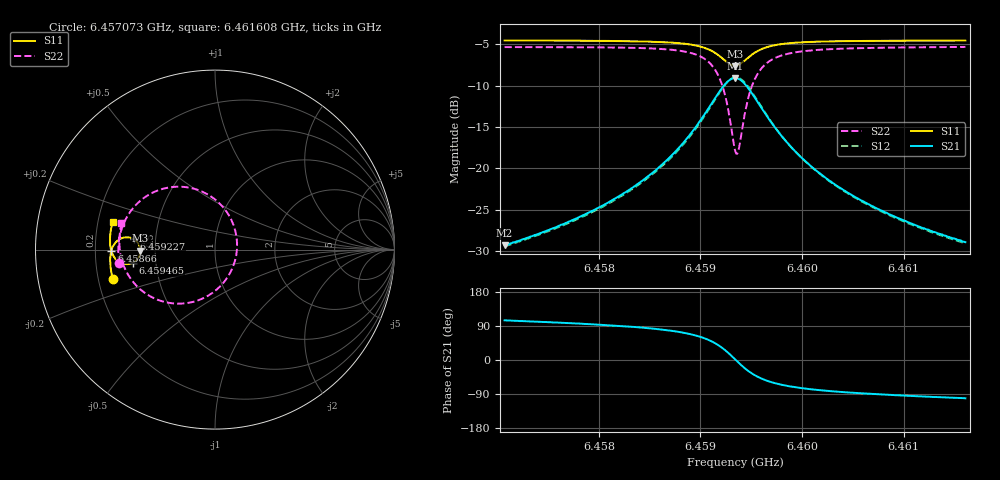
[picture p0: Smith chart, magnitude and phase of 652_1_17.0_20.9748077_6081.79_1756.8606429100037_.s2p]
#  HZ  S  RI  R  50.00
! Rohde & Schwarz Vector Network Analyzer
! Rohde-Schwarz,ZNB20-2Port,1311601062101988,3.16
! Created: UTC 3/20/2024, 11:21:17 PM
! freq[Hz]  re:S11  im:S11  re:S21  im:S21  re:S12  im:S12  re:S22  im:S22
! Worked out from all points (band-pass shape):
!   401 points, 6.457073 GHz to 6.461608 GHz, reference 50 ohm
!   highest |S21| = -9.10 dB at 6.459341 GHz (marker M1); lowest = -29.3 dB at 6.457073 GHz (marker M2)
!   |S21| within 3 dB of the highest: 6.459115 GHz to 6.459568 GHz (453.9 kHz wide, 0.00703 % of centre)
!   lowest |S11| = -7.6 dB at 6.459341 GHz (marker M3), VSWR 2.42, Z = 20.6 - j0.306 ohm
!   |S11| at or under -10 dB: nowhere
!   |S22| runs from -18.2 to -5.3 dB; largest |S21 - S12| = 0.014
!   S11 on the Smith chart (normalised r, x): 6.457073 GHz: 0.26, -0.13; 6.45866 GHz: 0.27, -0.00; 6.459227 GHz: 0.38, +0.05; 6.459465 GHz: 0.37, -0.07; 6.461608 GHz: 0.26, +0.12
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6.4570731e9  -0.5688 -0.1648  -0.00863 0.033  -0.00684 0.0331  -0.5347 -0.076
6.4578327e9  -0.5819 -0.098  -0.00522 0.0513  -0.00248 0.0507  -0.5384 0.0141
6.4582862e9  -0.5841 -0.0519  0.002 0.073  0.00543 0.0716  -0.5278 0.0879
6.4585923e9  -0.5798 -0.0147  0.0154 0.1002  0.0195 0.0972  -0.5025 0.1593
6.4586603e9  -0.5774 -0.00515  0.021 0.1085  0.0251 0.1052  -0.4921 0.1795
6.458853e9  -0.5644 0.0252  0.0481 0.1395  0.0522 0.1344  -0.441 0.2486
6.4590004e9  -0.5413 0.0513  0.0943 0.17  0.0973 0.1632  -0.356 0.313
6.4591365e9  -0.4969 0.0685  0.1825 0.186  0.1833 0.1786  -0.1942 0.3504
6.4592272e9  -0.4518 0.0578  0.2732 0.1541  0.2733 0.1483  -0.0261 0.2986
6.4592952e9  -0.4227 0.0253  0.3341 0.0812  0.3363 0.0758  0.0906 0.1669
6.4593405e9  -0.4157 -0.00614  0.3506 0.0123  0.3544 0.00532  0.1229 0.0376
6.4593745e9  -0.4197 -0.0301  0.3446 -0.0411  0.3487 -0.0501  0.111 -0.0636
6.4594199e9  -0.4355 -0.0566  0.3155 -0.1018  0.3178 -0.1138  0.052 -0.1787
6.4594652e9  -0.4579 -0.0733  0.2726 -0.1434  0.2718 -0.1569  -0.0351 -0.2547
6.4595559e9  -0.5019 -0.0804  0.186 -0.1747  0.1798 -0.1865  -0.2076 -0.3012
6.459624e9  -0.5265 -0.073  0.1369 -0.1723  0.1287 -0.1816  -0.3029 -0.2853
6.4597033e9  -0.5464 -0.0597  0.0968 -0.16  0.0879 -0.1664  -0.3783 -0.2497
6.459862e9  -0.5681 -0.0318  0.0514 -0.1313  0.0434 -0.1341  -0.4596 -0.1758
6.4601001e9  -0.5808 0.0037  0.0218 -0.099  0.0159 -0.0995  -0.5078 -0.0918
6.4604062e9  -0.5851 0.0409  0.00687 -0.0736  0.00257 -0.0732  -0.5281 -0.0183
6.4608597e9  -0.5831 0.0872  -0.00182 -0.0526  -0.00465 -0.0518  -0.5329 0.0567
6.461608e9  -0.5709 0.1535  -0.00682 -0.0351  -0.00868 -0.0341  -0.5211 0.146
